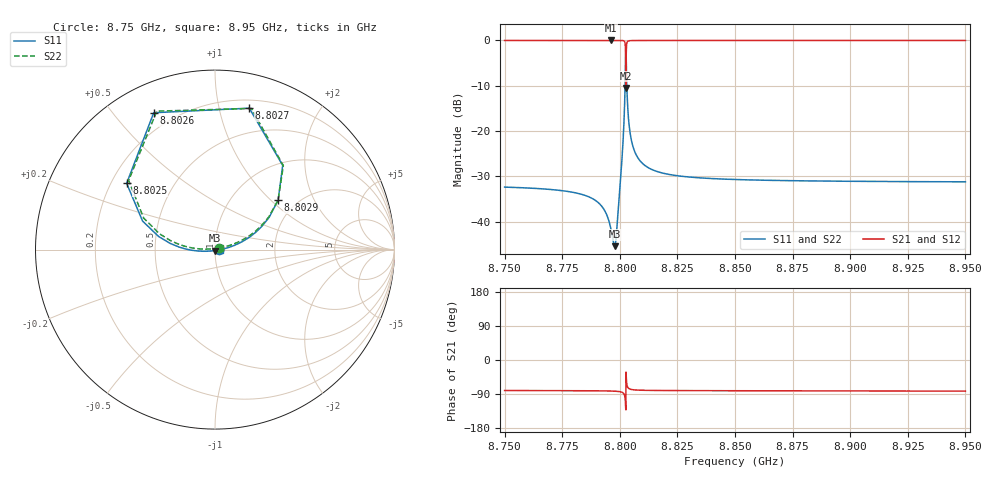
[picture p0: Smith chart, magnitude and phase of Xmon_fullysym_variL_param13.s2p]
! Sonnet Data File
! From: emgraph Version : 16.52
! From Project: 171117_Xmon_fullysym
! Data is De-embedded
! Data File Written: 11/26/2017 17:14:23
!< HDATE 11/22/2017 16:48:52
!< MDATE 11/23/2017 10:16:42
!< PARAMS
!< Lj = 11.0
!< Gap = 1.0
!< Pwid = 2000.0
!< Airgap = 6.0
!< Width = 10.0
!< Lj1 = 9.1
!< END PARAMS
# GHZ S MA R 50.90000
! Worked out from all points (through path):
!   2001 points, 8.75 GHz to 8.95 GHz, reference 50.9 ohm
!   highest |S21| = 0.00 dB at 8.7963 GHz (marker M1); lowest = -10.5 dB at 8.8026 GHz (marker M2)
!   lowest |S11| = -45.4 dB at 8.7977 GHz (marker M3), VSWR 1.01, Z = 51 - j0.539 ohm
!   |S11| at or under -10 dB: start of sweep to 8.8023 GHz; 8.8031 GHz to end of sweep
!   |S22| runs from -45.1 to -1.5 dB; largest |S21 - S12| = 3.7e-11
!   S11 on the Smith chart (normalised r, x): 8.75 GHz: 1.05, -0.00; 8.8025 GHz: 0.26, +0.31; 8.8026 GHz: 0.13, +0.64; 8.8027 GHz: 0.27, +1.24; 8.8029 GHz: 1.61, +1.11; 8.95 GHz: 1.06, -0.00
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8.75  0.02408 -2.9  0.9997 -80.5  0.9997 -80.5  0.02408 22.0
!< P1 F=8.75 Eeff=(6.44841643 -2.9796e-5) Z0=(50.9085185 1.17018e-4) R=0.0 C=0.0
!< P2 F=8.75 Eeff=(6.44841643 -2.9796e-5) Z0=(50.9085185 1.17018e-4) R=0.0 C=0.0
8.7834  0.02005 -6.2  0.9998 -81.0  0.9998 -81.0  0.02005 24.2
8.7921  0.01487 -12.3  0.9999 -81.4  0.9999 -81.4  0.01488 29.6
8.7963  0.007947 -34.2  0.9999 -81.9  0.9999 -81.9  0.008033 51.0
8.7977  0.005366 -80.3  0.9999 -82.3  0.9999 -82.3  0.005568 95.8
8.7985  0.007202 -124.4  0.9998 -82.6  0.9998 -82.6  0.007416 137.7
8.7996  0.01681 -154.6  0.9996 -83.2  0.9996 -83.2  0.01698 166.5
8.8009  0.04743 -168.8  0.9981 -85.0  0.9981 -85.0  0.04761 176.9
8.8016  0.0959 -175.3  0.9932 -87.8  0.9932 -87.8  0.09615 177.1
8.802  0.1693 178.4  0.9798 -92.1  0.9798 -92.1  0.1697 173.6
8.8025  0.6153 143.1  0.7082 -119.9  0.7082 -119.9  0.6163 141.3
8.8026  0.8355 114.1  0.2998 -131.7  0.2998 -131.7  0.8369 112.8
8.8027  0.8108 76.4  0.3883 -31.7  0.3883 -31.7  0.8121 75.5
8.8029  0.4468 38.1  0.8641 -55.8  0.8641 -55.8  0.4474 38.2
8.8037  0.1446 15.2  0.9874 -74.0  0.9874 -74.0  0.1447 18.4
8.8046  0.09075 10.4  0.9952 -77.1  0.9952 -77.1  0.09082 16.1
8.8065  0.05913 6.4  0.9981 -79.0  0.9981 -79.0  0.05916 15.9
8.8167  0.03544 1.2  0.9994 -80.4  0.9994 -80.4  0.03544 17.9
8.85  0.0292 -1.4  0.9996 -81.1  0.9996 -81.1  0.02921 19.2
8.8834  0.02815 -2.3  0.9996 -81.5  0.9996 -81.5  0.02815 19.3
8.9167  0.02774 -2.9  0.9996 -81.8  0.9996 -81.8  0.02774 19.2
8.95  0.02753 -3.4  0.9996 -82.1  0.9996 -82.1  0.02753 19.1
